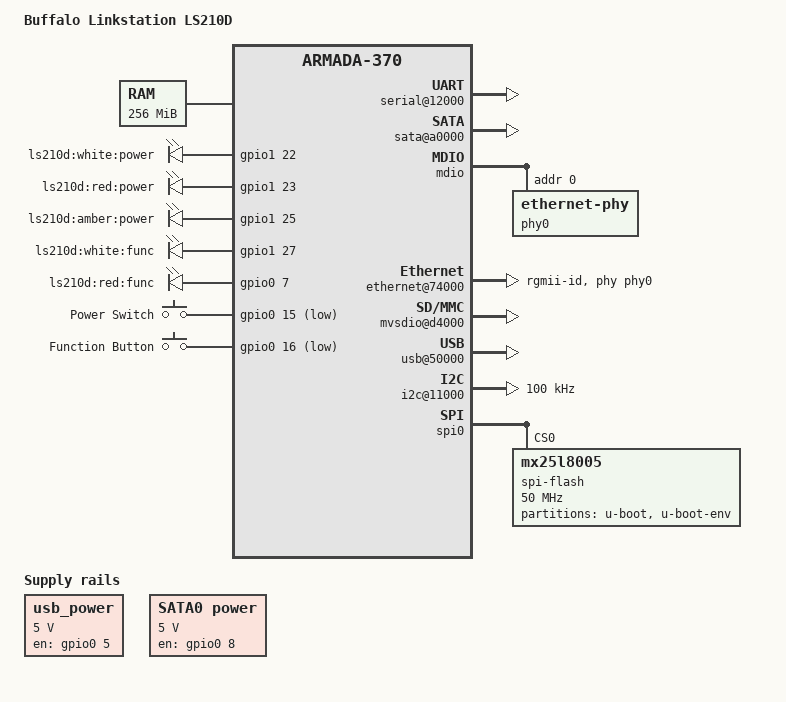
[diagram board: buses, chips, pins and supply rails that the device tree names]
// SPDX-License-Identifier: (GPL-2.0+ OR MIT)
/*
* Device Tree file for Buffalo LinkStation LS210D
*
* Copyright (C) Toha <tohenk@yahoo.com>, modified by Jeremy J. Peper
*/

/dts-v1/;

#include <dt-bindings/input/input.h>
#include <dt-bindings/gpio/gpio.h>
#include "armada-370.dtsi"

/ {
	model = "Buffalo Linkstation LS210D";
	compatible = "buffalo,ls210d", "marvell,armada370", "marvell,armada-370-xp";

	chosen {
		bootargs = "earlyprintk boot=local";
		stdout-path = "serial0:115200n8";
	};

	memory {
		device_type = "memory";
		reg = <0x00000000 0x10000000>; /* 256 MB */
	};

	soc {
		ranges = <MBUS_ID(0xf0, 0x01) 0 0xd0000000 0x100000
			  MBUS_ID(0x01, 0xe0) 0 0xfff00000 0x100000
			  MBUS_ID(0x09, 0x01) 0 0xf1100000 0x10000>;

		internal-regs {
			serial@12000 {
				status = "okay";
			};

			sata@a0000 {
				nr-ports = <2>;
				status = "okay";
			};

			timer@20300 {
				status = "okay";
			};

			mdio {
				pinctrl-0 = <&mdio_pins>;
				pinctrl-names = "default";

				phy0: ethernet-phy@0 {
					reg = <0>;
				};
			};

			ethernet@74000 {
				pinctrl-0 = <&ge1_rgmii_pins>;
				pinctrl-names = "default";
				status = "okay";
				phy = <&phy0>;
				phy-mode = "rgmii-id";
			};

			mvsdio@d4000 {
				pinctrl-0 = <&sdio_pins3>;
				pinctrl-names = "default";
				status = "okay";
				broken-cd;
			};

			usb@50000 {
				status = "okay";
			};

			i2c@11000 {
				status = "okay";
				clock-frequency = <100000>;
			};

		};
	};

	regulators {
		compatible = "simple-bus";
		#address-cells = <1>;
		#size-cells = <0>;
		pinctrl-0 = <&usb_vbus &hdd_pwr0>;
		pinctrl-names = "default";

		usb_power: regulator@1 {
			compatible = "regulator-fixed";
			reg = <1>;
			regulator-name = "USB Power";
			regulator-min-microvolt = <5000000>;
			regulator-max-microvolt = <5000000>;
			enable-active-high;
			regulator-always-on;
			regulator-boot-on;
			gpio = <&gpio0 5 GPIO_ACTIVE_LOW>;
		};

		regulator@2 {
			compatible = "regulator-fixed";
			reg = <2>;
			regulator-name = "SATA0 power";
			regulator-min-microvolt = <5000000>;
			regulator-max-microvolt = <5000000>;
			enable-active-high;
			regulator-always-on;
			regulator-boot-on;
			gpio = <&gpio0 8 GPIO_ACTIVE_HIGH>;
		};
	};

	gpio-leds {
		compatible = "gpio-leds";
		pinctrl-names = "default";
		pinctrl-0 = <&power_led_pin &alarm_led_pin &info_led_pin &func_led_pin 
				&system_led_pins>;

		white-power-led {
			label = "ls210d:white:power";
			gpios = <&gpio1 22 GPIO_ACTIVE_HIGH>;
			default-state = "on";
		};
		red-power-led {
			label = "ls210d:red:power";
			gpios = <&gpio1 23 GPIO_ACTIVE_HIGH>;
			default-state = "off";
		};
		amber-power-led {
			label = "ls210d:amber:power";
			gpios = <&gpio1 25 GPIO_ACTIVE_HIGH>;
			default-state = "off";
		};
		white-func-led {
			label = "ls210d:white:func";
			gpios = <&gpio1 27 GPIO_ACTIVE_HIGH>;
			default-state = "off";
			linux,default-trigger = "disk-activity";
		};
		red-func-led {
			label = "ls210d:red:func";
			gpios = <&gpio0 7 GPIO_ACTIVE_HIGH>;
			default-state = "off";
		};
	};

	restart_poweroff {
                compatible = "restart-poweroff";
        };

	gpio-keys {
		compatible = "gpio-keys";
		pinctrl-0 = <&power_switch &func_button>;
		pinctrl-names = "default";

		power-switch {
			label = "Power Switch";
			linux,code = <KEY_POWER>;
			gpios = <&gpio0 15 GPIO_ACTIVE_LOW>;
		};
		func-button {
			label = "Function Button";
			linux,code = <KEY_OPTION>;
			gpios = <&gpio0 16 GPIO_ACTIVE_LOW>;
		};
	};

};

&spi0 {
	status = "okay";
	pinctrl-0 = <&spi0_pins2>;

	spi-flash@0 {
		#address-cells = <1>;
		#size-cells = <1>;
		compatible = "mx25l8005", "jedec,spi-nor";
		reg = <0>; /* Chip select 0 */
		spi-max-frequency = <50000000>;

		partition@00000 {
			label = "u-boot";
			reg = <0x00000 0xf0000>;
			read-only;
		};
		partition@f0000 {
			label = "u-boot-env";
			reg = <0xf0000 0x10000>;
		};
	};
};

&pinctrl {
	usb_vbus: usb-vbus {
		marvell,pins = "mpp5";
		marvell,function = "gpo";
	};

	system_led_pins: system-led-pins {
                marvell,pins = "mpp7";
                marvell,function = "gpo";
        };

	hdd_pwr0: hdd-pwr0 {
		marvell,pins = "mpp8";
		marvell,function = "gpio";
	};

	power_switch: power-switch {
		marvell,pins = "mpp15";
		marvell,function = "gpio";
	};
	func_button: func-button {
		marvell,pins = "mpp16";
		marvell,function = "gpio";
	};
	power_led_pin: power-led-pin {
		marvell,pins = "mpp54";
		marvell,function = "gpo";
	};
	alarm_led_pin: alarm-led-pin {
		marvell,pins = "mpp55";
		marvell,function = "gpio";
	};
	info_led_pin: info-led-pin {
		marvell,pins = "mpp57";
		marvell,function = "gpio";
	};
	func_led_pin: func-led-pin {
		marvell,pins = "mpp59";
		marvell,function = "gpo";
	};
};
